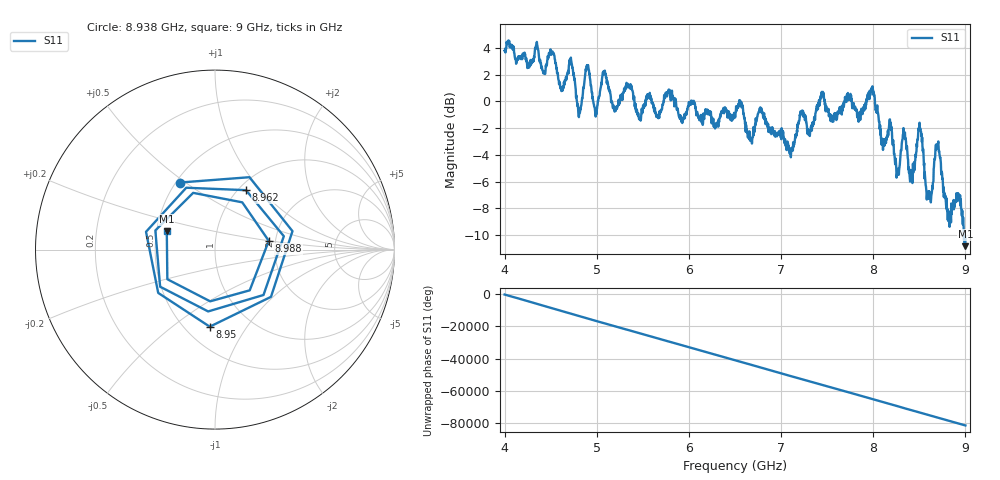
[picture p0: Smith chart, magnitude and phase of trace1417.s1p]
! Created with skrf 1.8.0 (http://scikit-rf.org).
# Hz S RI R 50.0
!freq ReS11 ImS11
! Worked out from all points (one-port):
!   1601 points, 4 GHz to 9 GHz, reference 50 ohm
!   lowest |S11| = -10.8 dB at 9 GHz (marker M1), VSWR 1.81, Z = 28.3 + j6.35 ohm
!   |S11| at or under -10 dB: 8.982903 GHz to end of sweep
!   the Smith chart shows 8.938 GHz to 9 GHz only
!   S11 on the Smith chart (normalised r, x): 8.938 GHz: 0.52, +0.47; 8.95 GHz: 0.66, -0.69; 8.962 GHz: 1.08, +0.83; 8.988 GHz: 1.84, +0.20; 9 GHz: 0.57, +0.13
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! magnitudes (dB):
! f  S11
! 4 GHz  3.8
! 4.516 GHz  3.7
! 4.625 GHz  0.8
! 4.716 GHz  3.0
! 4.809 GHz  -0.9
! 4.897 GHz  2.7
! 4.984 GHz  -0.8
! 5.081 GHz  2.2
! 5.25 GHz  -0.1
! 5.875 GHz  -0.6
! 6.5 GHz  -1.2
! 7.125 GHz  -3.7
! 7.438 GHz  0.5
! 7.75 GHz  0.5
! 7.988 GHz  0.9
! 8.259 GHz  -5.4
! 8.331 GHz  -2.7
! 8.375 GHz  -4.2
! 8.425 GHz  -6.1
! 8.506 GHz  -2.0
! 8.6 GHz  -6.7
! 8.697 GHz  -3.2
! 8.819 GHz  -8.7
! 8.938 GHz  -7.5
! 8.95 GHz  -7.3
! 8.962 GHz  -8.6
! 8.988 GHz  -10.4
! 9 GHz  -10.8
